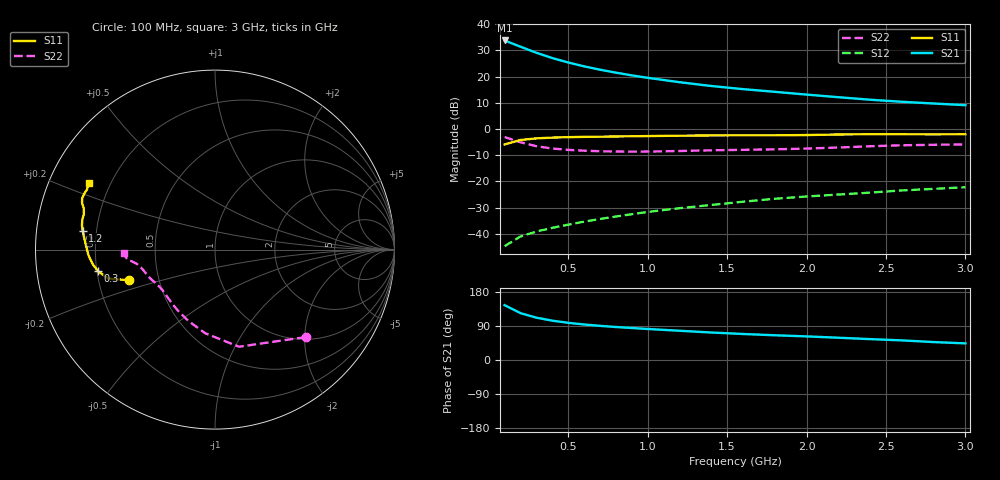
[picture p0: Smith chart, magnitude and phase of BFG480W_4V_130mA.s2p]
! Filename: 4130BFG480.001
! Title: BFG480W
! Bias: Vce=4V; Ic=130mA
! Company: Philips Semiconductors NL
! User: Quality&Reliability T&D
! Measure time: 10 Nov 1999 / 12:04:37
#  MHz  S  MA  R 50
! Freq  S11  S21  S12  S22  :
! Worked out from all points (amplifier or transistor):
!   20 points, 100 MHz to 3 GHz, reference 50 ohm
!   highest |S21| = 33.8 dB at 100 MHz (marker M1)
!   |S21| within 3 dB of that: start of sweep to 226.5 MHz
!   unconditionally stable (mu >= 1): 586.1 MHz to end of sweep
!   at 400 MHz: K = 0.89, MSG = 32.4 dB, |S12| = -37.7 dB
!   at 1.2 GHz: K = 1.10, MAG = 22.1 dB, |S12| = -30.2 dB
!   at 3 GHz: K = 1.06, MAG = 14.2 dB, |S12| = -22.2 dB
!   S11 on the Smith chart (normalised r, x): 100 MHz: 0.34, -0.15; 300 MHz: 0.20, -0.09; 1.2 GHz: 0.15, +0.07; 3 GHz: 0.12, +0.24
100  0.5076 -160.3  48.75 144.7  0.005832 68.0  0.7018 -44.0
200  0.6171 -164.9  37.03 123.6  0.008926 60.9  0.5574 -76.1
300  0.6622 -169.5  28.39 111.7  0.01108 60.9  0.4696 -96.6
400  0.685 -173.0  22.52 103.8  0.01304 63.4  0.4244 -110.4
500  0.6984 -175.8  18.54 98.1  0.01499 65.7  0.4 -120.3
600  0.708 -178.1  15.65 93.7  0.01712 67.6  0.3858 -127.5
700  0.7134 179.9  13.52 90.2  0.01926 69.6  0.3768 -133.0
800  0.7198 178.0  11.85 87.1  0.02142 71.3  0.3717 -137.6
900  0.726 176.2  10.53 84.4  0.0237 73.0  0.3698 -141.6
1000  0.7326 174.7  9.463 81.9  0.02619 73.9  0.3711 -145.2
1200  0.7452 171.8  7.805 77.2  0.03088 75.2  0.3805 -150.9
1400  0.7538 169.6  6.602 72.5  0.03561 76.1  0.3925 -155.1
1600  0.7576 167.2  5.756 68.6  0.04105 76.6  0.4005 -158.4
1800  0.7573 164.7  5.115 65.2  0.04676 76.9  0.4096 -161.9
2000  0.7664 162.6  4.526 62.3  0.05162 77.3  0.4232 -166.2
2200  0.7856 160.6  4.038 58.8  0.05624 77.2  0.4434 -169.7
2400  0.7938 158.8  3.616 55.1  0.06121 76.6  0.4686 -172.0
2600  0.7924 157.1  3.302 51.7  0.06742 75.9  0.489 -173.4
2800  0.7883 154.8  3.06 47.3  0.07217 74.4  0.4996 -175.2
3000  0.7931 152.1  2.841 43.9  0.07761 73.5  0.5083 -178.0
